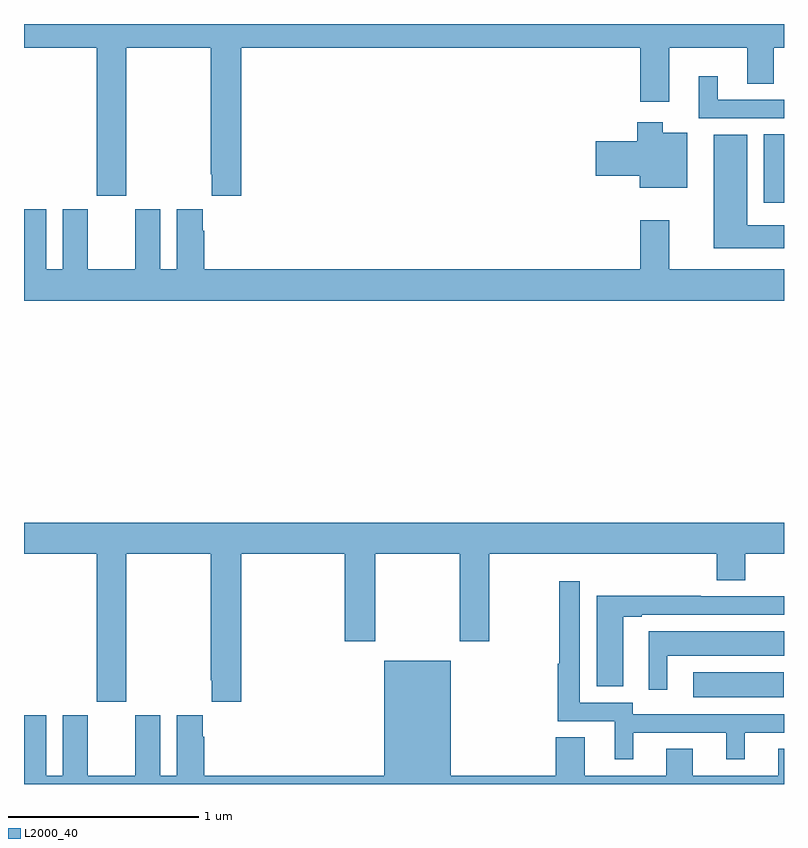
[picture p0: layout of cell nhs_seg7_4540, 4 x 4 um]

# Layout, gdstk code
import gdstk
lib = gdstk.Library(unit=1e-6, precision=1e-09)
def R(c, l, rs):  # rectangles x0, y0, x1, y1
    for r in rs: c.add(gdstk.rectangle(r[:2], r[2:], *l))
def P(c, l, *ps):  # polygons
    for p in ps: c.add(gdstk.Polygon(p, *l))
L2000_40 = (2000, 40)

nhs_seg7_4540 = lib.new_cell('nhs_seg7_4540')
R(nhs_seg7_4540, L2000_40, [(398.523,1070.456,398.998,1070.587), (398.894,1073.058,399,1073.42)])
P(nhs_seg7_4540, L2000_40, [(395.538,1073.876),(395.983,1073.876),(395.983,1073.209),(395.987,1073.209),(395.987,1073.097),(396.143,1073.097),(396.143,1073.876),(398.243,1073.876),(398.243,1073.592),(398.395,1073.592),(398.395,1073.876),(398.807,1073.876),(398.807,1073.686),(398.947,1073.686),(398.947,1073.876),(399,1073.876),(399,1074),(395,1074),(395,1073.876),(395.383,1073.876),(395.383,1073.097),(395.538,1073.097)],
  [(399,1073.601),(398.65,1073.601),(398.65,1073.725),(398.552,1073.725),(398.552,1073.505),(399,1073.505)],
  [(398.491,1073.428),(398.362,1073.428),(398.362,1073.482),(398.228,1073.482),(398.228,1073.384),(398.01,1073.384),(398.01,1073.201),(398.24,1073.201),(398.24,1073.138),(398.491,1073.138)],
  [(399,1072.942),(398.806,1072.942),(398.806,1073.416),(398.63,1073.416),(398.63,1072.82),(399,1072.82)],
  [(399,1072.708),(398.395,1072.708),(398.395,1072.966),(398.243,1072.966),(398.243,1072.708),(395.948,1072.708),(395.948,1072.913),(395.941,1072.913),(395.941,1073.026),(395.804,1073.026),(395.804,1072.708),(395.716,1072.708),(395.716,1073.026),(395.585,1073.026),(395.585,1072.708),(395.335,1072.708),(395.335,1073.026),(395.204,1073.026),(395.204,1072.708),(395.116,1072.708),(395.116,1073.026),(395,1073.026),(395,1072.544),(399,1072.544)],
  [(395,1071.212),(395.383,1071.212),(395.383,1070.433),(395.538,1070.433),(395.538,1071.212),(395.983,1071.212),(395.983,1070.545),(395.987,1070.545),(395.987,1070.433),(396.143,1070.433),(396.143,1071.212),(396.689,1071.212),(396.689,1070.751),(396.849,1070.751),(396.849,1071.212),(397.294,1071.212),(397.294,1070.751),(397.449,1070.751),(397.449,1071.212),(398.645,1071.212),(398.645,1071.073),(398.797,1071.073),(398.797,1071.212),(399,1071.212),(399,1071.376),(395,1071.376)],
  [(398.206,1070.271),(398.696,1070.271),(398.696,1070.13),(398.794,1070.13),(398.794,1070.271),(399,1070.271),(399,1070.367),(398.205,1070.367),(398.205,1070.427),(397.926,1070.427),(397.926,1071.067),(397.818,1071.067),(397.818,1070.634),(397.81,1070.634),(397.81,1070.331),(398.108,1070.331),(398.108,1070.13),(398.206,1070.13)],
  [(398.155,1070.88),(398.251,1070.88),(398.251,1070.892),(399,1070.892),(399,1070.988),(398.561,1070.988),(398.561,1070.991),(398.015,1070.991),(398.015,1070.514),(398.155,1070.514)],
  [(398.386,1070.675),(399,1070.675),(399,1070.803),(398.288,1070.803),(398.288,1070.496),(398.386,1070.496)],
  [(398.521,1070.186),(398.381,1070.186),(398.381,1070.044),(397.951,1070.044),(397.951,1070.246),(397.799,1070.246),(397.799,1070.044),(397.246,1070.044),(397.246,1070.65),(396.896,1070.65),(396.896,1070.044),(395.948,1070.044),(395.948,1070.249),(395.941,1070.249),(395.941,1070.362),(395.804,1070.362),(395.804,1070.044),(395.716,1070.044),(395.716,1070.362),(395.585,1070.362),(395.585,1070.044),(395.335,1070.044),(395.335,1070.362),(395.204,1070.362),(395.204,1070.044),(395.116,1070.044),(395.116,1070.362),(395,1070.362),(395,1070),(399,1070),(399,1070.186),(398.969,1070.186),(398.969,1070.044),(398.521,1070.044)])

lib.write_gds('nhs_seg7_4540.gds')
